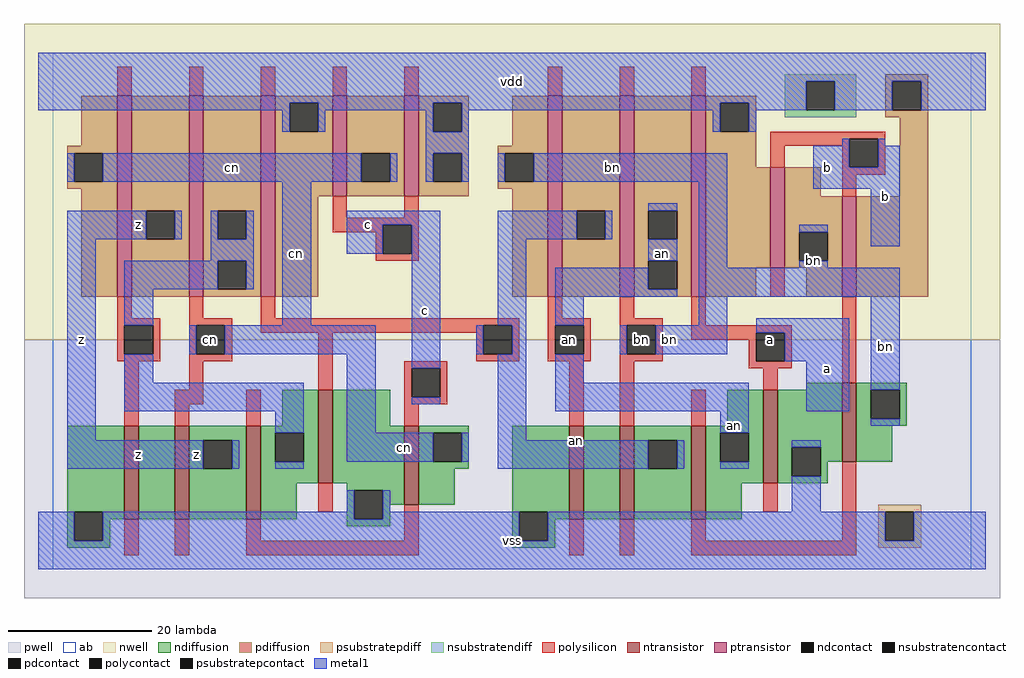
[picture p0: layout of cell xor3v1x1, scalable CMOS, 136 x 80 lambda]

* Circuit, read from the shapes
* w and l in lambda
.subckt xor3v1x1 a an b bn c cn vdd vss z
M1 n1 n2 vss vss nfet w=13 l=2
M2 z cn n1 vss nfet w=13 l=2
M3 n2 c z vss nfet w=13 l=2
M4 vss n3 n2 vss nfet w=13 l=2
M5 cn c vss vss nfet w=11 l=2
M6 n4 an vss vss nfet w=13 l=2
M7 n3 bn n4 vss nfet w=13 l=2
M8 an b n3 vss nfet w=13 l=2
M9 vss a an vss nfet w=13 l=2
M10 bn b vss vss nfet w=11 l=2
M11 z n2 cn vdd pfet w=28 l=2
M12 n2 cn z vdd pfet w=28 l=2
M13 vdd n3 n2 vdd pfet w=28 l=2
M14 cn c vdd vdd pfet w=14 l=2 m=2
M15 n3 an bn vdd pfet w=28 l=2
M16 an bn n3 vdd pfet w=28 l=2
M17 vdd a an vdd pfet w=28 l=2
M18 bn b vdd vdd pfet w=14 l=2 m=2
.ends

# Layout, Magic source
magic
tech scmos
<< ab >>
rect 0 0 128 72
<< pwell >>
rect -4 -4 132 32
<< nwell >>
rect -4 32 132 76
<< polysilicon >>
rect 9 66 11 70
rect 19 66 21 70
rect 29 66 31 70
rect 39 66 41 70
rect 49 66 51 70
rect 69 66 71 70
rect 79 66 81 70
rect 89 66 91 70
rect 39 49 41 52
rect 49 49 51 52
rect 39 48 51 49
rect 39 47 46 48
rect 45 44 46 47
rect 50 44 51 48
rect 45 43 51 44
rect 100 60 116 61
rect 100 59 111 60
rect 100 56 102 59
rect 110 56 111 59
rect 115 56 116 60
rect 110 55 116 56
rect 110 52 112 55
rect 100 38 102 42
rect 9 35 11 38
rect 19 35 21 38
rect 29 35 31 38
rect 69 35 71 38
rect 79 35 81 38
rect 9 34 15 35
rect 9 30 10 34
rect 14 30 15 34
rect 9 29 15 30
rect 19 34 25 35
rect 19 30 20 34
rect 24 30 25 34
rect 29 34 65 35
rect 29 33 60 34
rect 19 29 25 30
rect 10 20 12 29
rect 19 25 21 29
rect 37 25 39 33
rect 59 30 60 33
rect 64 30 65 34
rect 59 29 65 30
rect 69 34 75 35
rect 69 30 70 34
rect 74 30 75 34
rect 69 29 75 30
rect 79 34 85 35
rect 79 30 80 34
rect 84 30 85 34
rect 89 34 91 38
rect 89 33 103 34
rect 89 32 98 33
rect 79 29 85 30
rect 97 29 98 32
rect 102 29 103 33
rect 49 28 55 29
rect 17 23 21 25
rect 17 20 19 23
rect 27 20 29 25
rect 49 24 50 28
rect 54 24 55 28
rect 49 23 55 24
rect 49 20 51 23
rect 72 20 74 29
rect 79 20 81 29
rect 97 28 103 29
rect 99 25 101 28
rect 110 26 112 38
rect 89 20 91 25
rect 37 8 39 12
rect 10 2 12 7
rect 17 2 19 7
rect 27 4 29 7
rect 49 4 51 9
rect 27 2 51 4
rect 99 8 101 12
rect 72 2 74 7
rect 79 2 81 7
rect 89 4 91 7
rect 110 4 112 15
rect 89 2 112 4
<< ndiffusion >>
rect 32 20 37 25
rect 2 8 10 20
rect 2 4 3 8
rect 7 7 10 8
rect 12 7 17 20
rect 19 18 27 20
rect 19 14 21 18
rect 25 14 27 18
rect 19 7 27 14
rect 29 19 37 20
rect 29 15 31 19
rect 35 15 37 19
rect 29 12 37 15
rect 39 20 47 25
rect 105 25 110 26
rect 94 20 99 25
rect 39 12 49 20
rect 29 7 34 12
rect 41 11 49 12
rect 41 7 42 11
rect 46 9 49 11
rect 51 19 58 20
rect 51 15 53 19
rect 57 15 58 19
rect 51 14 58 15
rect 51 9 56 14
rect 46 7 47 9
rect 7 4 8 7
rect 2 3 8 4
rect 41 6 47 7
rect 64 8 72 20
rect 64 4 65 8
rect 69 7 72 8
rect 74 7 79 20
rect 81 18 89 20
rect 81 14 83 18
rect 87 14 89 18
rect 81 7 89 14
rect 91 19 99 20
rect 91 15 93 19
rect 97 15 99 19
rect 91 12 99 15
rect 101 17 110 25
rect 101 13 103 17
rect 107 15 110 17
rect 112 25 119 26
rect 112 21 114 25
rect 118 21 119 25
rect 112 20 119 21
rect 112 15 117 20
rect 107 13 108 15
rect 101 12 108 13
rect 91 7 96 12
rect 69 4 70 7
rect 64 3 70 4
<< pdiffusion >>
rect 4 59 9 66
rect 2 58 9 59
rect 2 54 3 58
rect 7 54 9 58
rect 2 53 9 54
rect 4 38 9 53
rect 11 50 19 66
rect 11 46 13 50
rect 17 46 19 50
rect 11 38 19 46
rect 21 50 29 66
rect 21 46 23 50
rect 27 46 29 50
rect 21 43 29 46
rect 21 39 23 43
rect 27 39 29 43
rect 21 38 29 39
rect 31 65 39 66
rect 31 61 33 65
rect 37 61 39 65
rect 31 52 39 61
rect 41 58 49 66
rect 41 54 43 58
rect 47 54 49 58
rect 41 52 49 54
rect 51 65 58 66
rect 51 61 53 65
rect 57 61 58 65
rect 51 58 58 61
rect 64 59 69 66
rect 51 54 53 58
rect 57 54 58 58
rect 51 52 58 54
rect 62 58 69 59
rect 62 54 63 58
rect 67 54 69 58
rect 62 53 69 54
rect 31 38 37 52
rect 64 38 69 53
rect 71 50 79 66
rect 71 46 73 50
rect 77 46 79 50
rect 71 38 79 46
rect 81 50 89 66
rect 81 46 83 50
rect 87 46 89 50
rect 81 43 89 46
rect 81 39 83 43
rect 87 39 89 43
rect 81 38 89 39
rect 91 65 98 66
rect 91 61 93 65
rect 97 61 98 65
rect 116 68 122 69
rect 116 64 117 68
rect 121 64 122 68
rect 116 63 122 64
rect 91 56 98 61
rect 91 42 100 56
rect 102 52 107 56
rect 118 52 122 63
rect 102 47 110 52
rect 102 43 104 47
rect 108 43 110 47
rect 102 42 110 43
rect 91 38 98 42
rect 105 38 110 42
rect 112 38 122 52
<< metal1 >>
rect -2 68 130 72
rect -2 65 105 68
rect -2 64 33 65
rect 32 61 33 64
rect 37 64 53 65
rect 37 61 38 64
rect 52 61 53 64
rect 57 64 93 65
rect 57 61 58 64
rect 92 61 93 64
rect 97 64 105 65
rect 109 64 117 68
rect 121 64 130 68
rect 97 61 98 64
rect 52 58 58 61
rect 110 59 111 60
rect 2 54 3 58
rect 7 54 43 58
rect 47 54 48 58
rect 52 54 53 58
rect 57 54 58 58
rect 62 54 63 58
rect 67 54 94 58
rect 2 46 13 50
rect 17 46 18 50
rect 22 46 23 50
rect 27 46 28 50
rect 2 18 6 46
rect 22 43 28 46
rect 10 39 23 43
rect 27 39 28 43
rect 10 34 14 39
rect 32 34 36 54
rect 83 50 87 51
rect 41 48 54 50
rect 41 44 46 48
rect 19 30 20 34
rect 24 30 45 34
rect 10 26 14 30
rect 10 22 35 26
rect 31 19 35 22
rect 2 14 21 18
rect 25 14 26 18
rect 41 19 45 30
rect 50 28 54 48
rect 62 46 73 50
rect 77 46 78 50
rect 62 34 66 46
rect 83 43 87 46
rect 59 30 60 34
rect 64 30 66 34
rect 50 23 54 24
rect 41 15 53 19
rect 57 15 58 19
rect 62 18 66 30
rect 70 39 83 42
rect 70 38 87 39
rect 90 42 94 54
rect 106 56 111 59
rect 115 59 116 60
rect 115 56 118 59
rect 106 53 118 56
rect 104 47 108 48
rect 114 45 118 53
rect 104 42 108 43
rect 90 38 118 42
rect 70 34 74 38
rect 90 34 94 38
rect 79 30 80 34
rect 84 30 94 34
rect 98 33 111 35
rect 70 26 74 30
rect 102 29 111 33
rect 70 22 97 26
rect 105 22 111 29
rect 114 25 118 38
rect 93 19 97 22
rect 114 20 118 21
rect 31 14 35 15
rect 62 14 83 18
rect 87 14 88 18
rect 93 14 97 15
rect 103 17 107 18
rect 41 8 42 11
rect -2 4 3 8
rect 7 7 42 8
rect 46 8 47 11
rect 103 8 107 13
rect 46 7 65 8
rect 7 4 65 7
rect 69 4 116 8
rect 120 4 130 8
rect -2 0 130 4
<< ntransistor >>
rect 10 7 12 20
rect 17 7 19 20
rect 27 7 29 20
rect 37 12 39 25
rect 49 9 51 20
rect 72 7 74 20
rect 79 7 81 20
rect 89 7 91 20
rect 99 12 101 25
rect 110 15 112 26
<< ptransistor >>
rect 9 38 11 66
rect 19 38 21 66
rect 29 38 31 66
rect 39 52 41 66
rect 49 52 51 66
rect 69 38 71 66
rect 79 38 81 66
rect 89 38 91 66
rect 100 42 102 56
rect 110 38 112 52
<< polycontact >>
rect 46 44 50 48
rect 111 56 115 60
rect 10 30 14 34
rect 20 30 24 34
rect 60 30 64 34
rect 70 30 74 34
rect 80 30 84 34
rect 98 29 102 33
rect 50 24 54 28
<< ndcontact >>
rect 3 4 7 8
rect 21 14 25 18
rect 31 15 35 19
rect 42 7 46 11
rect 53 15 57 19
rect 65 4 69 8
rect 83 14 87 18
rect 93 15 97 19
rect 103 13 107 17
rect 114 21 118 25
<< pdcontact >>
rect 3 54 7 58
rect 13 46 17 50
rect 23 46 27 50
rect 23 39 27 43
rect 33 61 37 65
rect 43 54 47 58
rect 53 61 57 65
rect 53 54 57 58
rect 63 54 67 58
rect 73 46 77 50
rect 83 46 87 50
rect 83 39 87 43
rect 93 61 97 65
rect 117 64 121 68
rect 104 43 108 47
<< psubstratepcontact >>
rect 116 4 120 8
<< nsubstratencontact >>
rect 105 64 109 68
<< psubstratepdiff >>
rect 115 8 121 9
rect 115 4 116 8
rect 120 4 121 8
rect 115 3 121 4
<< nsubstratendiff >>
rect 102 68 112 69
rect 102 64 105 68
rect 109 64 112 68
rect 102 63 112 64
<< labels >>
rlabel polycontact 22 32 22 32 6 cn
rlabel ntransistor 73 18 73 18 6 an
rlabel polycontact 82 32 82 32 6 bn
rlabel metal1 12 16 12 16 6 z
rlabel metal1 20 16 20 16 6 z
rlabel metal1 4 32 4 32 6 z
rlabel metal1 12 48 12 48 6 z
rlabel metal1 44 48 44 48 6 c
rlabel metal1 25 56 25 56 6 cn
rlabel metal1 34 44 34 44 6 cn
rlabel metal1 64 4 64 4 6 vss
rlabel metal1 49 17 49 17 6 cn
rlabel polycontact 72 32 72 32 6 an
rlabel metal1 52 36 52 36 6 c
rlabel metal1 64 68 64 68 6 vdd
rlabel metal1 95 20 95 20 6 an
rlabel polycontact 100 32 100 32 6 a
rlabel metal1 86 32 86 32 6 bn
rlabel metal1 85 44 85 44 6 an
rlabel metal1 78 56 78 56 6 bn
rlabel metal1 108 28 108 28 6 a
rlabel metal1 116 31 116 31 6 bn
rlabel metal1 106 43 106 43 6 bn
rlabel metal1 116 52 116 52 6 b
rlabel metal1 108 56 108 56 6 b
<< end >>
